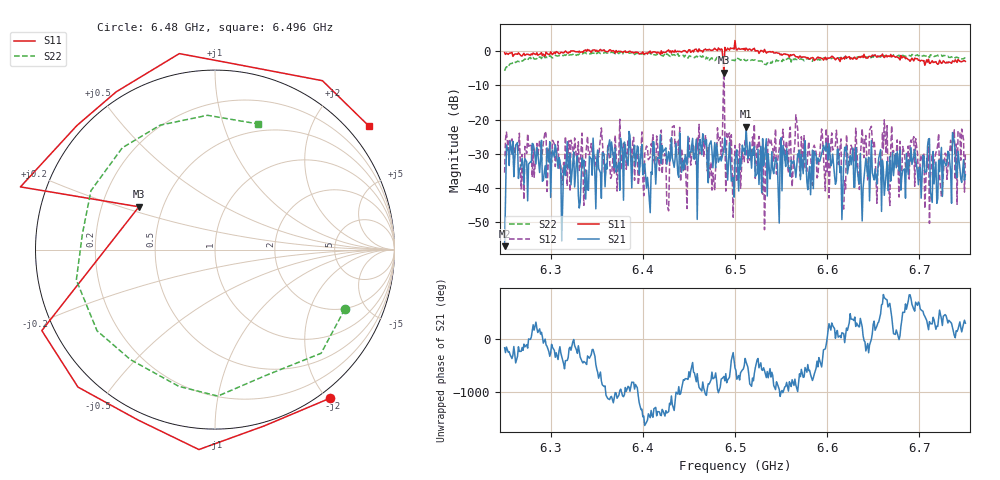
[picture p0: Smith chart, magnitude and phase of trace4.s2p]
# Hz S RI R 50
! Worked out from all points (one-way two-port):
!   401 points, 6.25 GHz to 6.75 GHz, reference 50 ohm
!   highest |S21| = -22.05 dB at 6.512 GHz (marker M1); lowest = -57.0 dB at 6.25 GHz (marker M2)
!   lowest |S11| = -6.3 dB at 6.488 GHz (marker M3), VSWR 2.89, Z = 18.3 + j11.4 ohm
!   |S11| at or under -10 dB: nowhere
!   |S22| runs from -5.7 to -0.1 dB; largest |S21 - S12| = 0.76
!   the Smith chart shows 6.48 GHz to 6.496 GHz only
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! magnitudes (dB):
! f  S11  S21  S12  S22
! 6.25 GHz  -0.4  -57.0  -35.5  -5.7
! 6.256 GHz  -0.6  -26.2  -26.7  -3.6
! 6.334 GHz  -0.2  -31.2  -23.9  -0.8
! 6.384 GHz  -0.3  -33.5  -25.8  -0.3
! 6.406 GHz  -0.4  -39.6  -31.7  -0.2
! 6.418 GHz  -0.5  -31.4  -34.9  -1.0
! 6.426 GHz  0.0  -33.1  -44.7  -0.7
! 6.432 GHz  0.1  -31.2  -22.1  -1.1
! 6.445 GHz  0.2  -34.6  -33.6  -1.7
! 6.462 GHz  0.2  -25.8  -29.9  -1.4
! 6.475 GHz  0.3  -29.2  -40.6  -1.9
! 6.488 GHz  -6.3  -28.3  -2.7  -2.0
! 6.5 GHz  3.2  -32.5  -27.6  -2.8
! 6.512 GHz  0.9  -22.1  -28.5  -2.8
! 6.524 GHz  0.2  -35.8  -27.2  -2.8
! 6.53 GHz  0.0  -25.6  -41.8  -3.1
! 6.539 GHz  -0.2  -35.0  -26.0  -3.2
! 6.584 GHz  -1.8  -28.9  -39.2  -2.9
! 6.608 GHz  -2.1  -36.3  -28.2  -2.0
! 6.618 GHz  -1.9  -32.4  -46.2  -1.9
! 6.668 GHz  -1.5  -30.8  -45.1  -1.2
! 6.75 GHz  -3.0  -36.1  -29.6  -2.0
